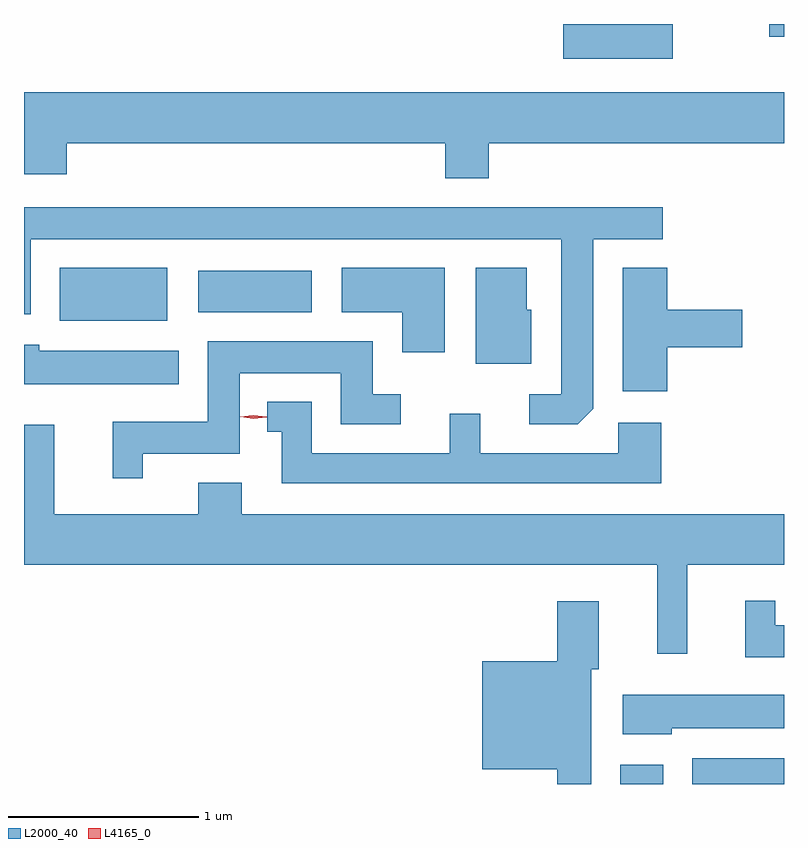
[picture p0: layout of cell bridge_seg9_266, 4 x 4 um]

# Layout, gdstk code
import gdstk
lib = gdstk.Library(unit=1e-6, precision=1e-09)
def R(c, l, rs):  # rectangles x0, y0, x1, y1
    for r in rs: c.add(gdstk.rectangle(r[:2], r[2:], *l))
def P(c, l, *ps):  # polygons
    for p in ps: c.add(gdstk.Polygon(p, *l))
L2000_40 = (2000, 40)
L4165_0 = (4165, 0)

bridge_seg9_266 = lib.new_cell('bridge_seg9_266')
R(bridge_seg9_266, L2000_40, [(1026.291,2046.163,1026.519,2046.264), (1026.671,2046.163,1027.154,2046.299), (1023.341,2048.601,1023.909,2048.879), (1024.071,2048.646,1024.669,2048.864), (1025.991,2049.981,1026.569,2050.163), (1027.076,2050.096,1027.154,2050.163)])
P(bridge_seg9_266, L2000_40, [(1025.599,2049.536),(1027.154,2049.536),(1027.154,2049.804),(1023.154,2049.804),(1023.154,2049.371),(1023.379,2049.371),(1023.379,2049.536),(1025.371,2049.536),(1025.371,2049.351),(1025.599,2049.351)],
  [(1026.149,2048.137),(1026.149,2049.031),(1026.517,2049.031),(1026.517,2049.199),(1023.154,2049.199),(1023.154,2048.636),(1023.189,2048.636),(1023.189,2049.031),(1025.981,2049.031),(1025.981,2048.214),(1025.813,2048.214),(1025.813,2048.056),(1026.069,2048.056)],
  [(1026.539,2048.461),(1026.934,2048.461),(1026.934,2048.659),(1026.539,2048.659),(1026.539,2048.879),(1026.306,2048.879),(1026.306,2048.231),(1026.539,2048.231)],
  [(1025.824,2048.659),(1025.799,2048.659),(1025.799,2048.879),(1025.531,2048.879),(1025.531,2048.376),(1025.824,2048.376)],
  [(1025.369,2048.879),(1024.826,2048.879),(1024.826,2048.646),(1025.146,2048.646),(1025.146,2048.436),(1025.369,2048.436)],
  [(1023.779,2047.901),(1024.289,2047.901),(1024.289,2048.326),(1024.821,2048.326),(1024.821,2048.056),(1025.138,2048.056),(1025.138,2048.214),(1024.989,2048.214),(1024.989,2048.494),(1024.121,2048.494),(1024.121,2048.069),(1023.621,2048.069),(1023.621,2047.773),(1023.779,2047.773)],
  [(1023.969,2048.444),(1023.234,2048.444),(1023.234,2048.474),(1023.154,2048.474),(1023.154,2048.266),(1023.969,2048.266)],
  [(1026.509,2048.064),(1026.281,2048.064),(1026.281,2047.904),(1025.554,2047.904),(1025.554,2048.113),(1025.396,2048.113),(1025.396,2047.904),(1024.669,2047.904),(1024.669,2048.174),(1024.433,2048.174),(1024.433,2048.016),(1024.511,2048.016),(1024.511,2047.746),(1026.509,2047.746)],
  [(1026.644,2047.316),(1027.154,2047.316),(1027.154,2047.584),(1024.299,2047.584),(1024.299,2047.749),(1024.071,2047.749),(1024.071,2047.584),(1023.314,2047.584),(1023.314,2048.053),(1023.156,2048.053),(1023.156,2047.584),(1023.154,2047.584),(1023.154,2047.316),(1026.486,2047.316),(1026.486,2046.848),(1026.644,2046.848)],
  [(1027.154,2046.999),(1027.109,2046.999),(1027.109,2047.128),(1026.951,2047.128),(1026.951,2046.831),(1027.154,2046.831)],
  [(1026.139,2046.766),(1026.179,2046.766),(1026.179,2047.124),(1025.961,2047.124),(1025.961,2046.809),(1025.566,2046.809),(1025.566,2046.241),(1025.961,2046.241),(1025.961,2046.163),(1026.139,2046.163)],
  [(1026.564,2046.456),(1027.154,2046.456),(1027.154,2046.634),(1026.306,2046.634),(1026.306,2046.426),(1026.564,2046.426)])
P(bridge_seg9_266, L4165_0, [(1024.361,2048.085),(1024.292,2048.095),(1024.292,2048.095),(1024.292,2048.096),(1024.361,2048.105),(1024.431,2048.095),(1024.431,2048.095),(1024.431,2048.094)])

lib.write_gds('bridge_seg9_266.gds')
